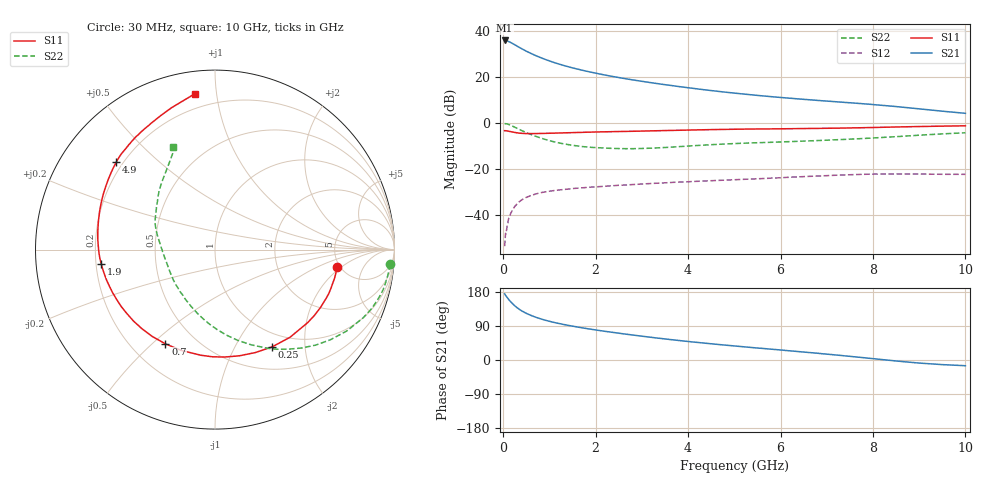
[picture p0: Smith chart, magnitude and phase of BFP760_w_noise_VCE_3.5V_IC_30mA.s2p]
! Infineon Technologies  Discrete & RF Semiconductors
! BFP760
! VCE =  3.5 V,  IC =  30 mA
! Common Emitter S-Parameters:  Nov 2012
# GHz  S  MA  R  50
!  f  S11  S21  S12  S22
! GHz  MAG  ANG  MAG  ANG  MAG  ANG  MAG  ANG
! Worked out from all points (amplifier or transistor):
!   99 points, 30 MHz to 10 GHz, reference 50 ohm
!   highest |S21| = 36.0 dB at 30 MHz (marker M1)
!   |S21| within 3 dB of that: start of sweep to 346.5 MHz
!   unconditionally stable (mu >= 1): 4.22 GHz to end of sweep
!   at 350 MHz: K = 0.28, MSG = 33.6 dB, |S12| = -34.2 dB
!   at 3.5 GHz: K = 0.93, MSG = 21.4 dB, |S12| = -26.0 dB
!   at 10 GHz: K = 1.07, MAG = 11.7 dB, |S12| = -22.3 dB
!   lowest NFmin = 0.75 dB at 900 MHz
!   S11 on the Smith chart (normalised r, x): 30 MHz: 4.75, -1.70; 250 MHz: 0.80, -1.43; 700 MHz: 0.34, -0.55; 1.9 GHz: 0.22, -0.06; 4.9 GHz: 0.17, +0.37; 10 GHz: 0.12, +0.87
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0.03  0.6866 -7.9  63.24 174.6  0.0021 82.8  0.9761 -4.8
0.07  0.6811 -18.3  62.41 167.4  0.0046 84.0  0.9671 -11.7
0.13  0.6642 -33.5  59.01 158.1  0.0088 74.1  0.9267 -21.6
0.15  0.6573 -38.3  57.81 155.2  0.0102 72.3  0.909 -24.7
0.2  0.6429 -49.4  54.37 148.7  0.0129 68.2  0.8629 -31.7
0.25  0.6287 -59.5  51.01 143.0  0.0154 64.0  0.816 -38.0
0.35  0.6071 -77.0  44.56 133.6  0.0195 57.4  0.7298 -48.7
0.45  0.5975 -91.2  39.24 126.3  0.0228 53.1  0.6566 -57.8
0.6  0.5924 -108.6  32.99 117.7  0.0265 47.7  0.5668 -69.3
0.7  0.5933 -117.8  29.7 113.0  0.0287 44.9  0.5195 -76.2
0.9  0.6 -132.7  24.64 105.3  0.0318 40.4  0.4455 -88.5
1.1  0.6068 -144.2  20.93 99.1  0.0341 37.5  0.3929 -99.3
1.4  0.6189 -157.2  17.01 91.6  0.0367 34.8  0.3422 -113.2
1.7  0.6308 -167.3  14.29 85.1  0.0391 33.2  0.3103 -125.7
1.9  0.6389 -172.9  12.89 81.2  0.0405 32.3  0.2979 -133.4
2.6  0.6607 171.2  9.464 69.1  0.0448 31.0  0.2789 -156.4
3.4  0.6868 157.0  7.12 57.0  0.0497 29.7  0.2922 -177.7
4.9  0.7351 138.4  4.628 38.2  0.0582 27.1  0.3562 158.6
5.1  0.7401 136.7  4.411 36.0  0.0593 27.0  0.3633 156.5
6.7  0.7683 124.8  3.19 18.9  0.07 23.2  0.4147 141.0
8.5  0.8263 107.1  2.3 -2.6  0.0787 12.8  0.5084 123.0
10  0.8761 97.4  1.64 -15.1  0.0769 8.3  0.6181 112.1
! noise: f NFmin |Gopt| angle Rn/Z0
0.9  0.75  0.17  -168  0.1
1.8  0.8  0.19  -157  0.06
2.4  0.85  0.19  -148  0.08
3.5  0.96  0.2  -140  0.1
5.5  1.18  0.27  -99  0.3
8  1.48  0.39  -73  0.42
